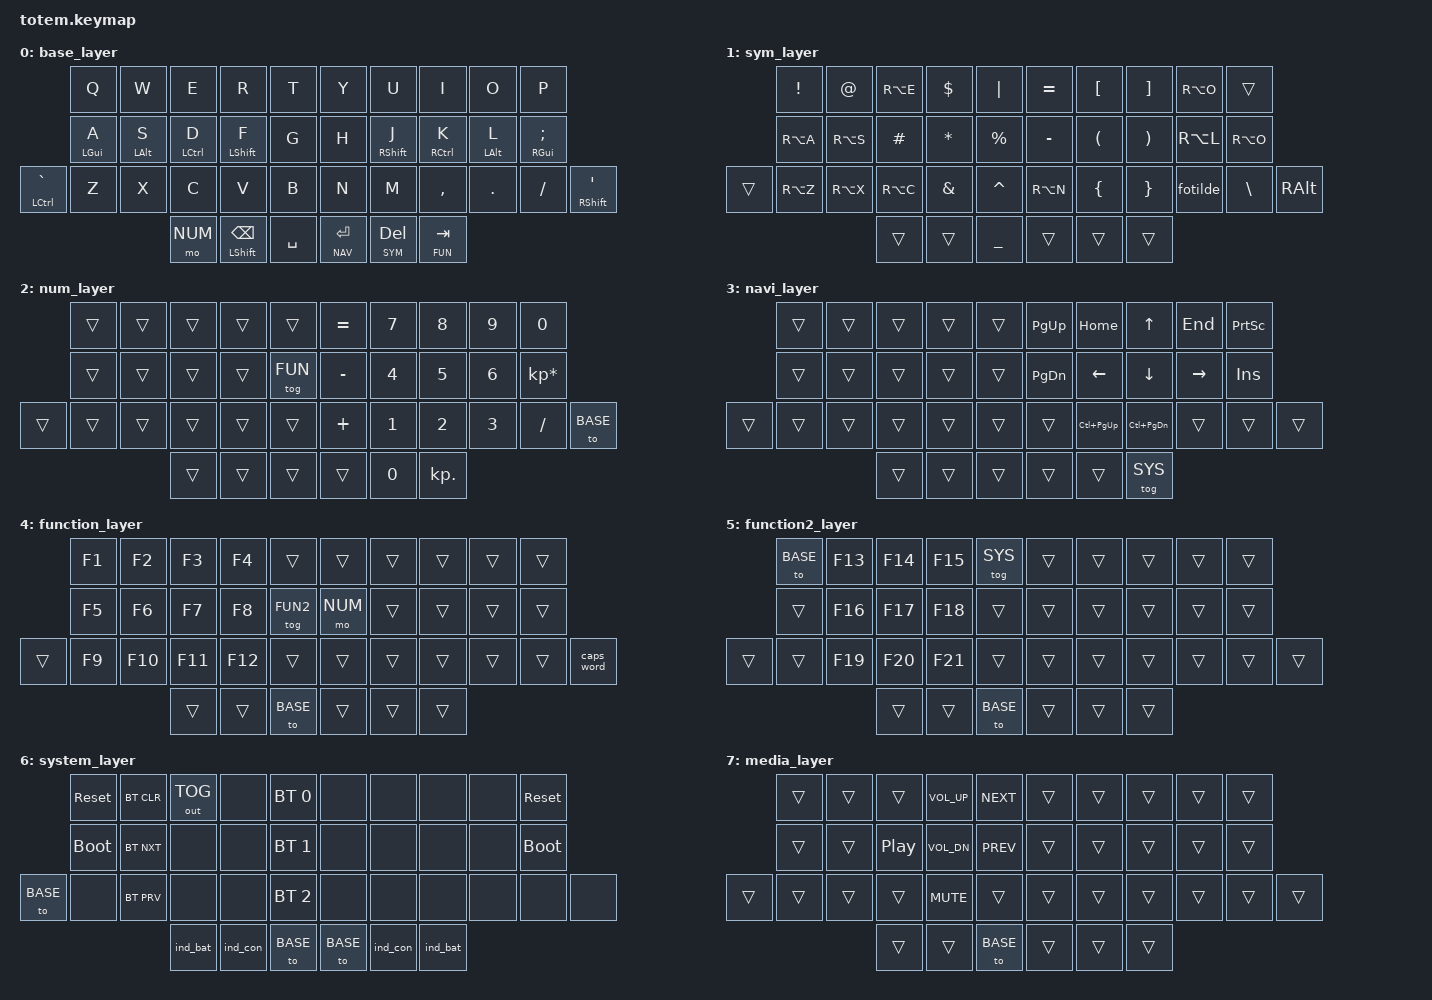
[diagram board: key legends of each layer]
//
//                                                        ▀▀▀▀▀     ▀▀▀▀▀          ▀▀█▀▀
//                                                        ▄▀▀▀▄  ▄  ▄▀▀▀▄  ▄  ▄▀▀▀▄  █  ▄▀▀▀▄
//                                                        █   █  █  █   █  █  █   █  █  █   █
//                                                         ▀▀▀   █   ▀▀▀   █   ▀▀▀   ▀   ▀▀▀
//                                                               █      ▄▄▄█▄▄▄    █   █  
//                                                               ▀      █  █  █     █▄█
//                                                             ▀▀▀▀▀    █  █  █      ▀
//                                                                      ▀  ▀  ▀
//
// ▄▄▄▄▄▄▄▄▄▄▄▄▄▄▄▄▄▄▄▄▄▄▄▄▄▄▄▄▄▄▄▄▄▄▄▄▄▄▄▄▄▄▄▄▄▄▄▄▄▄▄▄▄▄▄▄▄▄▄▄▄▄▄▄▄▄▄▄▄▄▄▄▄▄▄▄▄▄▄▄▄▄▄▄▄▄▄▄▄▄▄▄▄▄▄▄▄▄▄▄▄▄▄▄▄▄▄▄▄▄▄▄▄▄▄▄▄▄▄▄▄▄▄▄▄▄▄▄▄▄▄▄▄▄▄▄▄▄▄▄▄▄▄▄▄▄▄▄▄
       

#include <behaviors.dtsi>
#include <dt-bindings/zmk/keys.h>
#include <dt-bindings/zmk/bt.h>
#include <dt-bindings/zmk/outputs.h>

#include <behaviors/rgbled_widget.dtsi>

#define BASE 0
#define SYM  1
#define NUM  2
#define NAV  3
#define FUN  4
#define FUN2  5
#define SYS  6
#define MEDIA  7

&mt {
  quick-tap-ms = <100>;
  global-quick-tap;
  flavor = "tap-preferred";
  tapping-term-ms = <170>;
};

#define KEYS_L 4 3 2 1 0 14 13 12 11 10 25 24 23 22 21 20   // left-hand keys
#define KEYS_R 5 6 7 8 9 15 16 17 18 19 26 27 28 29 30 31   // right-hand keys
#define THUMBS 32 33 34 35 36 37                            // thumb keys

/ {
    behaviors {
        hml: home_row_mod_left {
            compatible = "zmk,behavior-hold-tap";
            #binding-cells = <2>;
            flavor = "balanced";
            require-prior-idle-ms = <150>;
            tapping-term-ms = <280>;
            quick-tap-ms = <175>;
            bindings = <&kp>, <&kp>;
            hold-trigger-key-positions = <KEYS_R THUMBS>; // List of keys on the right side of the keyboard
            hold-trigger-on-release;
        };
        hmr: home_row_mod_right {
            compatible = "zmk,behavior-hold-tap";
            #binding-cells = <2>;
            flavor = "balanced";
            require-prior-idle-ms = <150>;
            tapping-term-ms = <280>;
            quick-tap-ms = <175>;
            bindings = <&kp>, <&kp>;
            hold-trigger-key-positions = <KEYS_L THUMBS>; // List of keys on the left side of the keyboard
            hold-trigger-on-release;
        };
    };
};

/ {
    behaviors {
        lt2: lt2 {
            compatible = "zmk,behavior-hold-tap";
            #binding-cells = <2>;
            flavor = "tap-preferred";
            tapping-term-ms = <50>;
            bindings = <&mo>, <&kp>;
            display-name = "Layer-Tap";
        };
    };
};

/ {
    behaviors {
#if ZMK_BEHAVIOR_OMIT(NUM_WORD)
        /omit-if-no-ref/
#endif
        num_word: num_word {
            compatible = "zmk,behavior-auto-layer";
            #binding-cells = <1>;
            continue-list = <BACKSPACE DELETE DOT COMMA PLUS MINUS STAR FSLH EQUAL>;
            ignore-numbers;
        };
    };
};


/ {

    combos {
            compatible = "zmk,combos";
            combo_esc {timeout-ms = <50>; key-positions = <0 1>; bindings = <&kp ESC>; };
            combo_shifttab {timeout-ms = <50>; key-positions = <3 13>; bindings = <&kp LS(TAB)>; };
            combo_tab {timeout-ms = <50>; key-positions = <4 14>; bindings = <&kp TAB>; };
            combo_undo {timeout-ms = <50>; key-positions = <21 22>; bindings = <&kp LC(Z)>; };
            combo_copycat {timeout-ms = <50>; key-positions = <22 23>; bindings = <&mt LC(X) LC(C)>; };
            combo_paste {timeout-ms = <50>; key-positions = <23 24>; bindings = <&kp LC(V)>; };
            combo_bkspc {timeout-ms = <50>; key-positions = <5 15>; bindings = <&kp BSPC>; };
            combo_del {timeout-ms = <50>; key-positions = <9 19>; bindings = <&kp DEL>; };
            combo_esc2 {timeout-ms = <50>; key-positions = <15 16>; bindings = <&kp ESC>; };
            combo_media_layer {timeout-ms = <50>; key-positions = <11 12>; bindings = <&mo MEDIA>; };
    };

    macros {
        fotilde: fotilde {
                compatible = "zmk,behavior-macro";
                #binding-cells = <0>;
                bindings
                        = <&macro_press &kp LS(TILDE)>
                        , <&macro_tap &kp SPACE>
                        ;
        };
    };
};


/ {
keymap {
compatible = "zmk,keymap";

base_layer {
bindings = <
//             ╭─────────────┬─────────────┬─────────────┬─────────────┬─────────────╮ ╭─────────────┬─────────────┬─────────────┬─────────────┬─────────────╮
                &kp Q         &kp W         &kp E         &kp R         &kp T           &kp Y         &kp U         &kp I         &kp O         &kp P
//             ├─────────────┼─────────────┼─────────────┼─────────────┼─────────────┤ ├─────────────┼─────────────┼─────────────┼─────────────┼─────────────┤
                &hml LGUI A   &hml LALT S   &hml LCTRL D  &hml LSHFT F  &kp G           &kp H         &hmr RSHFT J  &hmr RCTRL K  &hmr LALT L   &hmr RGUI SEMI
//╭────────────┼─────────────┼─────────────┼─────────────┼─────────────┼─────────────┤ ├─────────────┼─────────────┼─────────────┼─────────────┼─────────────┼─────────────╮
&mt LCTRL GRAVE &kp Z         &kp X         &kp C         &kp V         &kp B           &kp N         &kp M         &kp COMMA     &kp DOT       &kp FSLH      &mt RSHFT SQT
//╰────────────┴─────────────┴─────────────┼─────────────┼─────────────┼─────────────┤ ├─────────────┼─────────────┼─────────────┼─────────────┴─────────────┴─────────────╯
                                            &mo NUM       &mt LSHFT BSPC &kp SPACE      &lt NAV RET   &lt2 SYM DEL  &lt FUN TAB
//                                         ╰─────────────┴─────────────┴─────────────╯ ╰─────────────┴─────────────┴─────────────╯
>;
};


sym_layer {
bindings = <
//             ╭─────────────┬─────────────┬─────────────┬─────────────┬─────────────╮ ╭─────────────┬─────────────┬─────────────┬─────────────┬─────────────╮
                &kp EXCL      &kp AT        &kp RA(E)     &kp DLLR      &kp PIPE        &kp EQUAL     &kp LBKT      &kp RBKT      &kp RA(O)     &trans
//             ├─────────────┼─────────────┼─────────────┼─────────────┼─────────────┤ ├─────────────┼─────────────┼─────────────┼─────────────┼─────────────┤
                &kp RA(A)     &kp RA(S)     &kp HASH      &kp STAR      &kp PRCNT       &kp MINUS     &kp LPAR      &kp RPAR      &kp RA(L)     &kp RA(O) 
//╭────────────┼─────────────┼─────────────┼─────────────┼─────────────┼─────────────┤ ├─────────────┼─────────────┼─────────────┼─────────────┼─────────────┼─────────────╮
   &trans       &kp RA(Z)     &kp RA(X)     &kp RA(C)     &kp AMPS      &kp CARET       &kp RA(N)     &kp LBRC      &kp RBRC      &fotilde      &kp BSLH      &kp RALT
//╰────────────┴─────────────┴─────────────┼─────────────┼─────────────┼─────────────┤ ├─────────────┼─────────────┼─────────────┼─────────────┴─────────────┴─────────────╯
                                            &trans        &trans        &kp UNDER       &trans        &trans        &trans      
//                                         ╰─────────────┴─────────────┴─────────────╯ ╰─────────────┴─────────────┴─────────────╯
>;
};


num_layer {
bindings = <
//             ╭─────────────┬─────────────┬─────────────┬─────────────┬─────────────╮ ╭─────────────┬─────────────┬─────────────┬─────────────┬─────────────╮
                &trans        &trans        &trans        &trans        &trans          &kp EQUAL     &kp N7        &kp N8        &kp N9        &kp N0
//             ├─────────────┼─────────────┼─────────────┼─────────────┼─────────────┤ ├─────────────┼─────────────┼─────────────┼─────────────┼─────────────┤
                &trans        &trans        &trans        &trans        &tog FUN        &kp MINUS     &kp N4        &kp N5        &kp N6        &kp KP_MULTIPLY
//╭────────────┼─────────────┼─────────────┼─────────────┼─────────────┼─────────────┤ ├─────────────┼─────────────┼─────────────┼─────────────┼─────────────┼─────────────╮
   &trans       &trans        &trans        &trans        &trans        &trans          &kp PLUS      &kp N1        &kp N2        &kp N3        &kp FSLH      &to BASE
//╰────────────┴─────────────┴─────────────┼─────────────┼─────────────┼─────────────┤ ├─────────────┼─────────────┼─────────────┼─────────────┴─────────────┴─────────────╯
                                            &trans        &trans        &trans          &trans        &kp N0        &kp KP_DOT
//                                         ╰─────────────┴─────────────┴─────────────╯ ╰─────────────┴─────────────┴─────────────╯
>;
};

navi_layer {
bindings = <
//             ╭─────────────┬─────────────┬─────────────┬─────────────┬─────────────╮ ╭─────────────┬─────────────┬─────────────┬─────────────┬─────────────╮
                &trans        &trans        &trans        &trans        &trans          &kp PG_UP     &kp HOME      &kp UP        &kp END       &kp PSCRN
//             ├─────────────┼─────────────┼─────────────┼─────────────┼─────────────┤ ├─────────────┼─────────────┼─────────────┼─────────────┼─────────────┤
                &trans        &trans        &trans        &trans        &trans          &kp PG_DN     &kp LEFT      &kp DOWN      &kp RIGHT     &kp INS
//╭────────────┼─────────────┼─────────────┼─────────────┼─────────────┼─────────────┤ ├─────────────┼─────────────┼─────────────┼─────────────┼─────────────┼─────────────╮
   &trans       &trans        &trans        &trans        &trans        &trans          &trans        &kp LC(PG_UP) &kp LC(PG_DN) &trans        &trans        &trans
//╰────────────┴─────────────┴─────────────┼─────────────┼─────────────┼─────────────┤ ├─────────────┼─────────────┼─────────────┼─────────────┴─────────────┴─────────────╯
                                            &trans        &trans        &trans          &trans        &trans        &tog SYS
//                                         ╰─────────────┴─────────────┴─────────────╯ ╰─────────────┴─────────────┴─────────────╯
>;
};


function_layer {
bindings = <
//             ╭─────────────┬─────────────┬─────────────┬─────────────┬─────────────╮ ╭─────────────┬─────────────┬─────────────┬─────────────┬─────────────╮
                &kp F1        &kp F2        &kp F3        &kp F4        &trans          &trans        &trans        &trans        &trans        &trans
//             ├─────────────┼─────────────┼─────────────┼─────────────┼─────────────┤ ├─────────────┼─────────────┼─────────────┼─────────────┼─────────────┤
                &kp F5        &kp F6        &kp F7        &kp F8        &tog FUN2       &mo NUM       &trans        &trans        &trans        &trans  
//╭────────────┼─────────────┼─────────────┼─────────────┼─────────────┼─────────────┤ ├─────────────┼─────────────┼─────────────┼─────────────┼─────────────┼─────────────╮
   &trans       &kp F9        &kp F10       &kp F11       &kp F12       &trans          &trans        &trans        &trans        &trans        &trans        &caps_word
//╰────────────┴─────────────┴─────────────┼─────────────┼─────────────┼─────────────┤ ├─────────────┼─────────────┼─────────────┼─────────────┴─────────────┴─────────────╯
                                            &trans        &trans        &to BASE        &trans        &trans        &trans      
//                                         ╰─────────────┴─────────────┴─────────────╯ ╰─────────────┴─────────────┴─────────────╯
>;
};


function2_layer {
bindings = <
//             ╭─────────────┬─────────────┬─────────────┬─────────────┬─────────────╮ ╭─────────────┬─────────────┬─────────────┬─────────────┬─────────────╮
                &to BASE      &kp F13       &kp F14       &kp F15       &tog SYS        &trans        &trans        &trans        &trans        &trans
//             ├─────────────┼─────────────┼─────────────┼─────────────┼─────────────┤ ├─────────────┼─────────────┼─────────────┼─────────────┼─────────────┤
                &trans        &kp F16       &kp F17       &kp F18       &trans          &trans        &trans        &trans        &trans        &trans  
//╭────────────┼─────────────┼─────────────┼─────────────┼─────────────┼─────────────┤ ├─────────────┼─────────────┼─────────────┼─────────────┼─────────────┼─────────────╮
   &trans       &trans        &kp F19       &kp F20       &kp F21       &trans          &trans        &trans        &trans        &trans        &trans        &trans
//╰────────────┴─────────────┴─────────────┼─────────────┼─────────────┼─────────────┤ ├─────────────┼─────────────┼─────────────┼─────────────┴─────────────┴─────────────╯
                                            &trans        &trans        &to BASE        &trans        &trans        &trans      
//                                         ╰─────────────┴─────────────┴─────────────╯ ╰─────────────┴─────────────┴─────────────╯
>;
};


system_layer {
bindings = <
//             ╭─────────────┬─────────────┬─────────────┬─────────────┬─────────────╮ ╭─────────────┬─────────────┬─────────────┬─────────────┬─────────────╮
                &sys_reset    &bt BT_CLR    &out OUT_TOG  &none         &bt BT_SEL 0    &none         &none         &none         &none         &sys_reset
//             ├─────────────┼─────────────┼─────────────┼─────────────┼─────────────┤ ├─────────────┼─────────────┼─────────────┼─────────────┼─────────────┤
                &bootloader   &bt BT_NXT    &none         &none         &bt BT_SEL 1    &none         &none         &none         &none         &bootloader  
//╭────────────┼─────────────┼─────────────┼─────────────┼─────────────┼─────────────┤ ├─────────────┼─────────────┼─────────────┼─────────────┼─────────────┼─────────────╮
   &to BASE     &none         &bt BT_PRV    &none         &none         &bt BT_SEL 2    &none         &none         &none         &none         &none         &none
//╰────────────┴─────────────┴─────────────┼─────────────┼─────────────┼─────────────┤ ├─────────────┼─────────────┼─────────────┼─────────────┴─────────────┴─────────────╯
                                            &ind_bat      &ind_con      &to BASE        &to BASE      &ind_con      &ind_bat
//                                         ╰─────────────┴─────────────┴─────────────╯ ╰─────────────┴─────────────┴─────────────╯
>;
};


media_layer {
            bindings = <
//             ╭─────────────┬─────────────┬─────────────┬─────────────┬─────────────╮ ╭─────────────┬─────────────┬─────────────┬─────────────┬─────────────╮
                &trans        &trans        &trans        &kp C_VOL_UP  &kp C_NEXT      &trans        &trans        &trans        &trans        &trans
//             ├─────────────┼─────────────┼─────────────┼─────────────┼─────────────┤ ├─────────────┼─────────────┼─────────────┼─────────────┼─────────────┤
                &trans        &trans        &kp C_PP      &kp C_VOL_DN  &kp C_PREV      &trans        &trans        &trans        &trans        &trans  
//╭────────────┼─────────────┼─────────────┼─────────────┼─────────────┼─────────────┤ ├─────────────┼─────────────┼─────────────┼─────────────┼─────────────┼─────────────╮
   &trans       &trans        &trans        &trans        &kp C_MUTE    &trans          &trans        &trans        &trans        &trans        &trans        &trans         
//╰────────────┴─────────────┴─────────────┼─────────────┼─────────────┼─────────────┤ ├─────────────┼─────────────┼─────────────┼─────────────┴─────────────┴─────────────╯
                                            &trans        &trans        &to BASE        &trans        &trans        &trans      
//                                         ╰─────────────┴─────────────┴─────────────╯ ╰─────────────┴─────────────┴─────────────╯
>;
};

};
};
